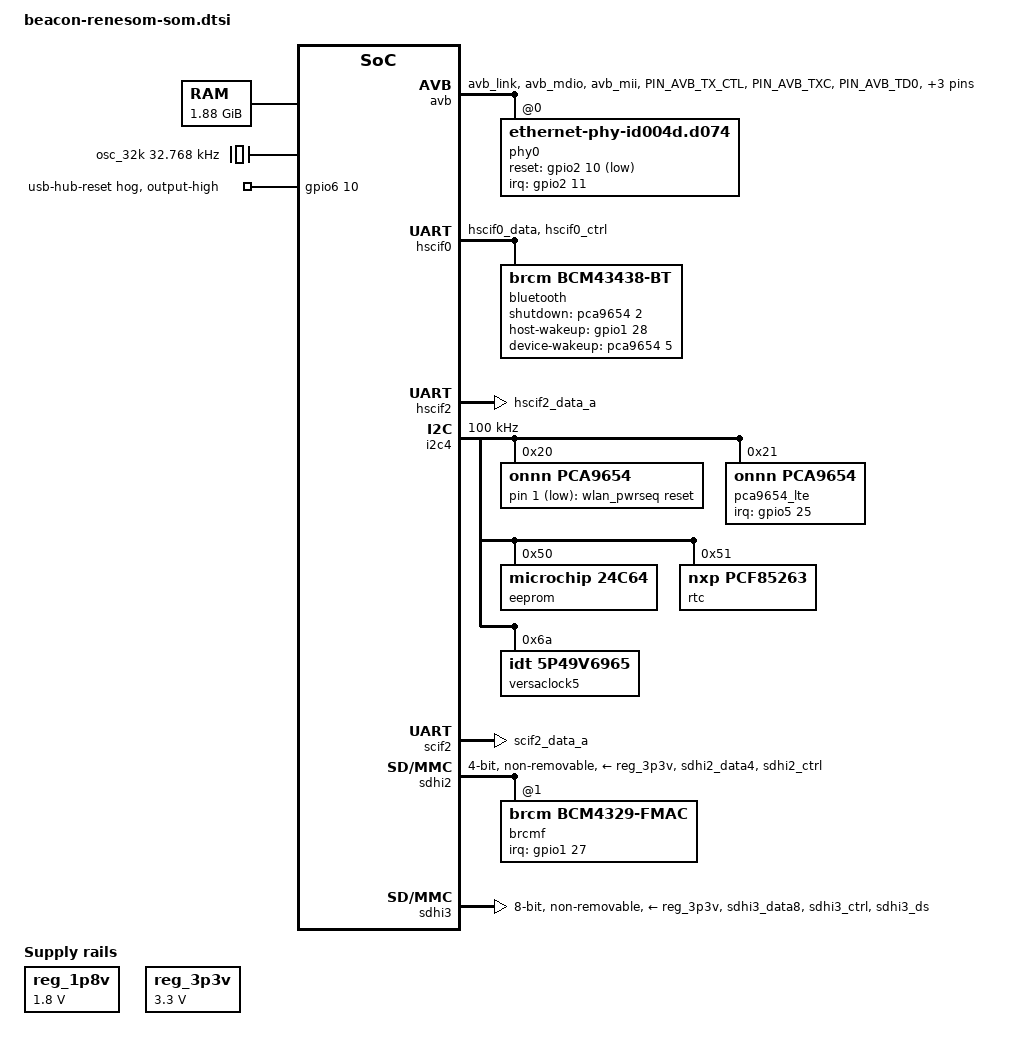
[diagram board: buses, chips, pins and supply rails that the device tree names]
// SPDX-License-Identifier: GPL-2.0
/*
 * Copyright 2020, Compass Electronics Group, LLC
 */

#include <dt-bindings/gpio/gpio.h>
#include <dt-bindings/clk/versaclock.h>

/ {
	memory@48000000 {
		device_type = "memory";
		/* first 128MB is reserved for secure area. */
		reg = <0x0 0x48000000 0x0 0x78000000>;
	};

	osc_32k: osc_32k {
		compatible = "fixed-clock";
		#clock-cells = <0>;
		clock-frequency = <32768>;
		clock-output-names = "osc_32k";
	};

	reg_1p8v: regulator-1p8v {
		compatible = "regulator-fixed";
		regulator-name = "fixed-1.8V";
		regulator-min-microvolt = <1800000>;
		regulator-max-microvolt = <1800000>;
		regulator-boot-on;
		regulator-always-on;
	};

	reg_3p3v: regulator-3p3v {
		compatible = "regulator-fixed";
		regulator-name = "fixed-3.3V";
		regulator-min-microvolt = <3300000>;
		regulator-max-microvolt = <3300000>;
		regulator-boot-on;
		regulator-always-on;
	};

	wlan_pwrseq: wlan_pwrseq {
		compatible = "mmc-pwrseq-simple";
		reset-gpios = <&pca9654 1 GPIO_ACTIVE_LOW>;
		clocks = <&osc_32k>;
		clock-names = "ext_clock";
		post-power-on-delay-ms = <80>;
	};
};

&avb {
	pinctrl-0 = <&avb_pins>;
	pinctrl-names = "default";
	phy-mode = "rgmii-rxid";
	phy-handle = <&phy0>;
	rx-internal-delay-ps = <1800>;
	tx-internal-delay-ps = <2000>;
	clocks = <&cpg CPG_MOD 812>, <&versaclock5 4>;
	clock-names = "fck", "refclk";
	status = "okay";

	phy0: ethernet-phy@0 {
		compatible = "ethernet-phy-id004d.d074",
			     "ethernet-phy-ieee802.3-c22";
		reg = <0>;
		interrupt-parent = <&gpio2>;
		interrupts = <11 IRQ_TYPE_LEVEL_LOW>;
		reset-gpios = <&gpio2 10 GPIO_ACTIVE_LOW>;
	};
};

&extal_clk {
	clock-frequency = <16666666>;
};

&extalr_clk {
	clock-frequency = <32768>;
};

&gpio6 {
	usb-hub-reset-hog {
		gpio-hog;
		gpios = <10 GPIO_ACTIVE_HIGH>;
		output-high;
		line-name = "usb-hub-reset";
	};
};

&hscif0 {
	pinctrl-0 = <&hscif0_pins>;
	pinctrl-names = "default";
	uart-has-rtscts;
	status = "okay";

	bluetooth {
		compatible = "brcm,bcm43438-bt";
		shutdown-gpios = <&pca9654 2 GPIO_ACTIVE_HIGH>;
		host-wakeup-gpios = <&gpio1 28 GPIO_ACTIVE_HIGH>;
		device-wakeup-gpios = <&pca9654 5 GPIO_ACTIVE_HIGH>;
		clocks = <&osc_32k>;
		clock-names = "extclk";
		max-speed = <4000000>;
	};
};

&hscif2 {
	status = "okay";
	pinctrl-0 = <&hscif2_pins>;
	pinctrl-names = "default";
};

&i2c4 {
	status = "okay";
	clock-frequency = <100000>;

	pca9654: gpio@20 {
		compatible = "onnn,pca9654";
		reg = <0x20>;
		gpio-controller;
		#gpio-cells = <2>;
		gpio-line-names =
			"i2c4_20_0",
			"wl_reg_on",
			"bt_reg_on",
			"i2c4_20_3",
			"i2c4_20_4",
			"bt_dev_wake",
			"i2c4_20_6",
			"i2c4_20_7";
	};

	pca9654_lte: gpio@21 {
		compatible = "onnn,pca9654";
		reg = <0x21>;
		interrupt-parent = <&gpio5>;
		interrupts = <25 IRQ_TYPE_EDGE_FALLING>;
		interrupt-controller;
		#interrupt-cells = <2>;
		gpio-controller;
		#gpio-cells = <2>;
		gpio-line-names =
			"i2c4_21_0",
			"zoe_pwr_on",
			"zoe_extint",
			"zoe_reset_n",
			"sara_reset",
			"i2c4_21_5",
			"sara_pwr_off",
			"sara_networking_status";
	};

	eeprom@50 {
		compatible = "microchip,24c64", "atmel,24c64";
		pagesize = <32>;
		read-only;	/* Manufacturing EEPROM programmed at factory */
		reg = <0x50>;
	};

	rtc@51 {
		compatible = "nxp,pcf85263";
		reg = <0x51>;
	};

	versaclock5: versaclock_som@6a {
		compatible = "idt,5p49v6965";
		reg = <0x6a>;
		#clock-cells = <1>;
		clocks = <&x304_clk>;
		clock-names = "xin";
		/* du_dotclkin0, du_dotclkin2, usb_extal, avb_txcrefclk */
		assigned-clocks = <&versaclock5 1>,
				   <&versaclock5 2>,
				   <&versaclock5 3>,
				   <&versaclock5 4>;

		assigned-clock-rates = <33333333>, <33333333>, <50000000>, <125000000>;

		OUT1 {
			idt,mode = <VC5_CMOS>;
			idt,voltage-microvolt = <1800000>;
			idt,slew-percent = <100>;
		};

		OUT2 {
			idt,mode = <VC5_CMOS>;
			idt,voltage-microvolt = <1800000>;
			idt,slew-percent = <100>;
		};

		OUT3 {
			idt,mode = <VC5_CMOS>;
			idt,voltage-microvolt = <1800000>;
			idt,slew-percent = <100>;
		};

		OUT4 {
			idt,mode = <VC5_CMOS>;
			idt,voltage-microvolt = <3300000>;
			idt,slew-percent = <100>;
		};
	};
};

&pfc {
	pinctrl-0 = <&scif_clk_pins>;
	pinctrl-names = "default";

	avb_pins: avb {
		mux {
			groups = "avb_link", "avb_mdio", "avb_mii";
			function = "avb";
		};

		pins_mdio {
			groups = "avb_mdio";
			drive-strength = <24>;
		};

		pins_mii_tx {
			pins = "PIN_AVB_TX_CTL", "PIN_AVB_TXC", "PIN_AVB_TD0",
			       "PIN_AVB_TD1", "PIN_AVB_TD2", "PIN_AVB_TD3";
			drive-strength = <12>;
		};
	};

	scif2_pins: scif2 {
		groups = "scif2_data_a";
		function = "scif2";
	};

	hscif0_pins: hscif0 {
		groups = "hscif0_data", "hscif0_ctrl";
		function = "hscif0";
	};

	hscif1_pins: hscif1 {
		groups = "hscif1_data_a", "hscif1_ctrl_a";
		function = "hscif1";
	};

	hscif2_pins: hscif2 {
		groups = "hscif2_data_a";
		function = "hscif2";
	};

	scif0_pins: scif0 {
		groups = "scif0_data";
		function = "scif0";
	};

	scif5_pins: scif5 {
		groups = "scif5_data_a";
		function = "scif5";
	};

	scif_clk_pins: scif_clk {
		groups = "scif_clk_a";
		function = "scif_clk";
	};

	i2c0_pins: i2c0 {
		groups = "i2c0";
		function = "i2c0";
	};

	sdhi2_pins: sd2 {
		groups = "sdhi2_data4", "sdhi2_ctrl";
		function = "sdhi2";
		power-source = <1800>;
	};

	sdhi3_pins: sd3 {
		groups = "sdhi3_data8", "sdhi3_ctrl", "sdhi3_ds";
		function = "sdhi3";
		power-source = <1800>;
	};
};

&scif_clk {
	clock-frequency = <14745600>;
};

&scif2 {
	pinctrl-0 = <&scif2_pins>;
	pinctrl-names = "default";
	status = "okay";
};

&sdhi2 {
	pinctrl-names = "default";
	pinctrl-0 = <&sdhi2_pins>;
	bus-width = <4>;
	vmmc-supply = <&reg_3p3v>;
	vqmmc-supply = <&reg_1p8v>;
	non-removable;
	cap-power-off-card;
	keep-power-in-suspend;
	mmc-pwrseq = <&wlan_pwrseq>;
	status = "okay";
	#address-cells = <1>;
	#size-cells = <0>;

	brcmf: bcrmf@1 {
		reg = <1>;
		compatible = "brcm,bcm4329-fmac";
		interrupt-parent = <&gpio1>;
		interrupts = <27 IRQ_TYPE_LEVEL_LOW>;
		interrupt-names = "host-wake";
	};
};

&sdhi3 {
	pinctrl-0 = <&sdhi3_pins>;
	pinctrl-1 = <&sdhi3_pins>;
	pinctrl-names = "default", "state_uhs";
	vmmc-supply = <&reg_3p3v>;
	vqmmc-supply = <&reg_1p8v>;
	bus-width = <8>;
	mmc-hs200-1_8v;
	no-sd;
	no-sdio;
	non-removable;
	fixed-emmc-driver-type = <1>;
	status = "okay";
};

&usb2_clksel {
	clocks = <&cpg CPG_MOD 703>, <&cpg CPG_MOD 704>,
		  <&versaclock5 3>, <&usb3s0_clk>;
	status = "okay";
};

&usb3s0_clk {
	clock-frequency = <100000000>;
};
